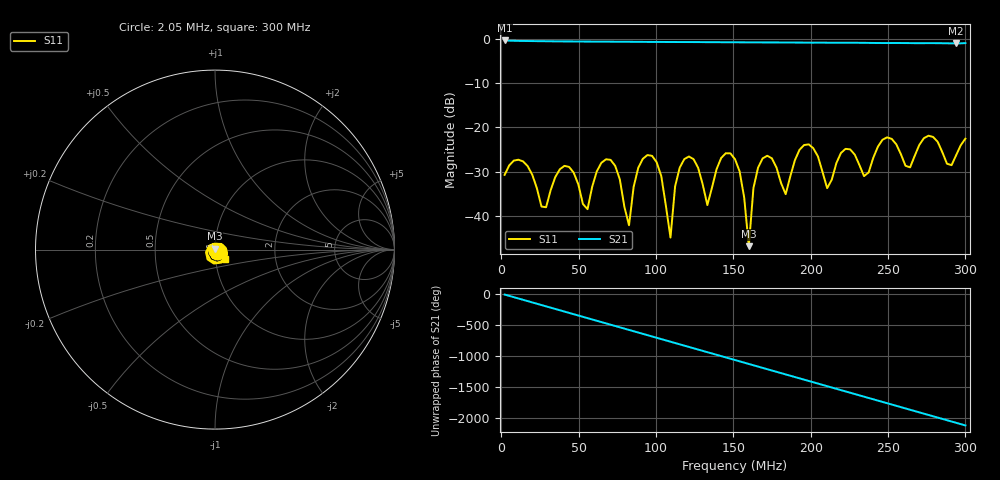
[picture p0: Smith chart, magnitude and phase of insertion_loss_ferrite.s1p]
# Hz S RI R 50
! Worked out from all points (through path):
!   101 points, 2.05 MHz to 300 MHz, reference 50 ohm
!   highest |S21| = -0.36 dB at 2.05 MHz (marker M1); lowest = -1.0 dB at 294 MHz (marker M2)
!   group delay of S21, straight-line fit = 19.6 ns
!   lowest |S11| = -46.9 dB at 160 MHz (marker M3), VSWR 1.01, Z = 49.9 + j0.442 ohm
!   |S11| at or under -10 dB: start of sweep to end of sweep
!   S12 and S22 are empty: the file has one direction only
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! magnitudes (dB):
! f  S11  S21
! 2.05 MHz  -30.7  -0.4
! 13.97 MHz  -27.7  -0.5
! 28.87 MHz  -38.1  -0.5
! 43.76 MHz  -28.9  -0.6
! 52.7 MHz  -37.3  -0.6
! 70.58 MHz  -27.3  -0.6
! 82.5 MHz  -42.1  -0.7
! 91.44 MHz  -27.1  -0.7
! 103.4 MHz  -31.0  -0.7
! 109.3 MHz  -44.9  -0.7
! 118.3 MHz  -27.2  -0.7
! 133.1 MHz  -37.6  -0.7
! 151 MHz  -27.2  -0.8
! 160 MHz  -46.9  -0.8
! 162.9 MHz  -33.7  -0.8
! 168.9 MHz  -27.0  -0.8
! 183.8 MHz  -35.1  -0.8
! 201.7 MHz  -24.7  -0.9
! 210.6 MHz  -33.7  -0.9
! 252.3 MHz  -22.6  -0.9
! 294 MHz  -26.3  -1.0
! 300 MHz  -22.5  -1.0
